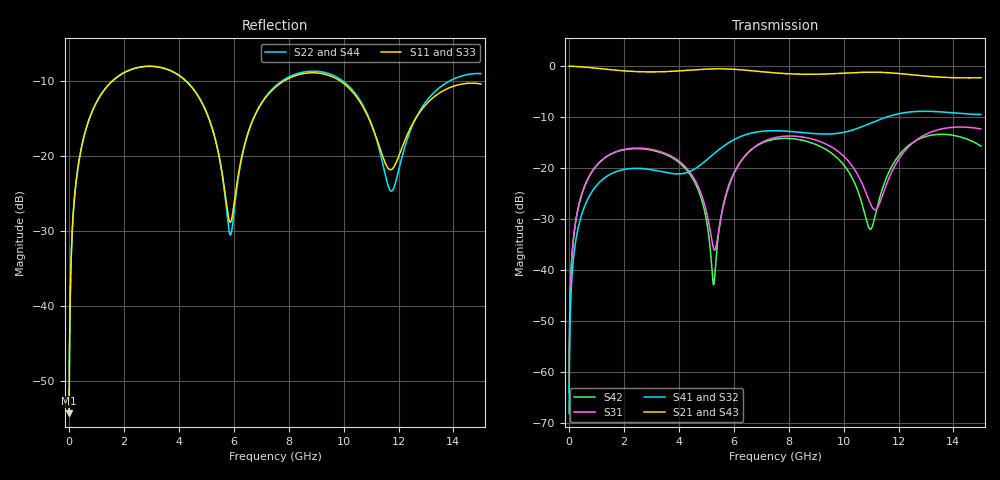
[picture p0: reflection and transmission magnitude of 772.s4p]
! Created with skrf 1.8.0 (http://scikit-rf.org).
# GHz S RI R 50.0
!freq ReS11 ImS11 ReS12 ImS12 ReS13 ImS13
! ReS14 ImS14
! ReS21 ImS21 ReS22 ImS22 ReS23 ImS23
! ReS24 ImS24
! ReS31 ImS31 ReS32 ImS32 ReS33 ImS33
! ReS34 ImS34
! ReS41 ImS41 ReS42 ImS42 ReS43 ImS43
! ReS44 ImS44
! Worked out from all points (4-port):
!   2499 points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, 5 MHz to 15 GHz, reference 50 ohm
!   strongest paths, dB at 5 MHz, 3.476 GHz, 7.19 GHz, 11.1 GHz, 15 GHz:
!     S21: 0.0, -1.1, -1.2, -1.2, -2.3
!     S43: 0.0, -1.1, -1.2, -1.2, -2.3
!     S41: -68.2, -20.8, -12.7, -11.0, -9.5
!     S32: -68.2, -20.9, -12.7, -10.9, -9.5
!     S31: -64.2, -17.1, -14.6, -28.1, -12.4
!     S42: -64.2, -17.3, -14.8, -30.5, -15.7
!   lowest |S11| = -54.3 dB at 5 MHz (marker M1), VSWR 1.00, Z = 50.2 + j0.117 ohm
!   |S11| at or under -10 dB: start of sweep to 1.6 GHz; 4.24 GHz to 7.854 GHz (3.615 GHz wide, 59.8 % of centre); 9.854 GHz to end of sweep
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0.005  0.00153 0.00116  0.9984 -0.00298  7.67e-05 0.000612  -7.45e-05 -0.000383
       0.9984 -0.00298  0.00153 0.00116  -7.45e-05 -0.000383  7.66e-05 0.000612
       7.67e-05 0.000612  -7.45e-05 -0.000383  0.00153 0.00116  0.9984 -0.00298
       -7.45e-05 -0.000383  7.66e-05 0.000612  0.9984 -0.00298  0.00153 0.00116
0.3126303  0.0214 0.0769  0.9709 -0.1858  0.00988 0.0366  -0.00814 -0.0227
           0.9709 -0.1858  0.0214 0.0769  -0.00813 -0.0227  0.00966 0.0366
           0.00988 0.0366  -0.00813 -0.0227  0.0214 0.0769  0.9709 -0.1858
           -0.00814 -0.0227  0.00966 0.0366  0.9709 -0.1858  0.0214 0.0769
1.519383  0.2422 0.1874  0.6067 -0.6938  0.1194 0.0671  -0.0857 -0.0155
          0.6067 -0.6938  0.2431 0.1869  -0.0857 -0.0156  0.1164 0.0705
          0.1194 0.0671  -0.0857 -0.0156  0.2422 0.1874  0.6067 -0.6939
          -0.0857 -0.0155  0.1164 0.0705  0.6067 -0.6939  0.2431 0.1869
5.264694  0.0739 -0.1206  -0.861 -0.3746  -0.0146 -0.00705  -0.0501 0.1273
          -0.861 -0.3746  0.0686 -0.1244  -0.051 0.127  -0.00681 -0.00212
          -0.0146 -0.00705  -0.051 0.127  0.0726 -0.1214  -0.861 -0.3745
          -0.0501 0.1273  -0.00681 -0.00212  -0.861 -0.3745  0.0701 -0.1241
6.371405  0.0704 0.089  -0.8936 0.1987  0.0594 0.112  0.0644 0.199
          -0.8936 0.1987  0.065 0.0911  0.0632 0.1996  0.0559 0.1149
          0.0594 0.112  0.0632 0.1996  0.0683 0.0897  -0.8936 0.1989
          0.0644 0.199  0.0559 0.1149  -0.8936 0.1989  0.0673 0.0904
9.197582  0.349 -0.0474  0.0386 0.8332  0.1441 -0.107  0.2015 -0.0762
          0.0386 0.8332  0.3568 -0.0578  0.2019 -0.0745  0.1438 -0.0709
          0.1441 -0.107  0.2019 -0.0745  0.3501 -0.0465  0.039 0.8328
          0.2015 -0.0762  0.1438 -0.0709  0.039 0.8328  0.3575 -0.0593
15  0.2984 -0.0301  0.0814 -0.7644  0.168 -0.1731  -0.3326 0.0392
    0.0814 -0.7644  0.3498 -0.0389  -0.3339 0.0351  0.1566 -0.0488
    0.168 -0.1731  -0.3339 0.0351  0.2983 -0.0234  0.0796 -0.7645
    -0.3326 0.0392  0.1566 -0.0488  0.0796 -0.7645  0.3497 -0.0478
